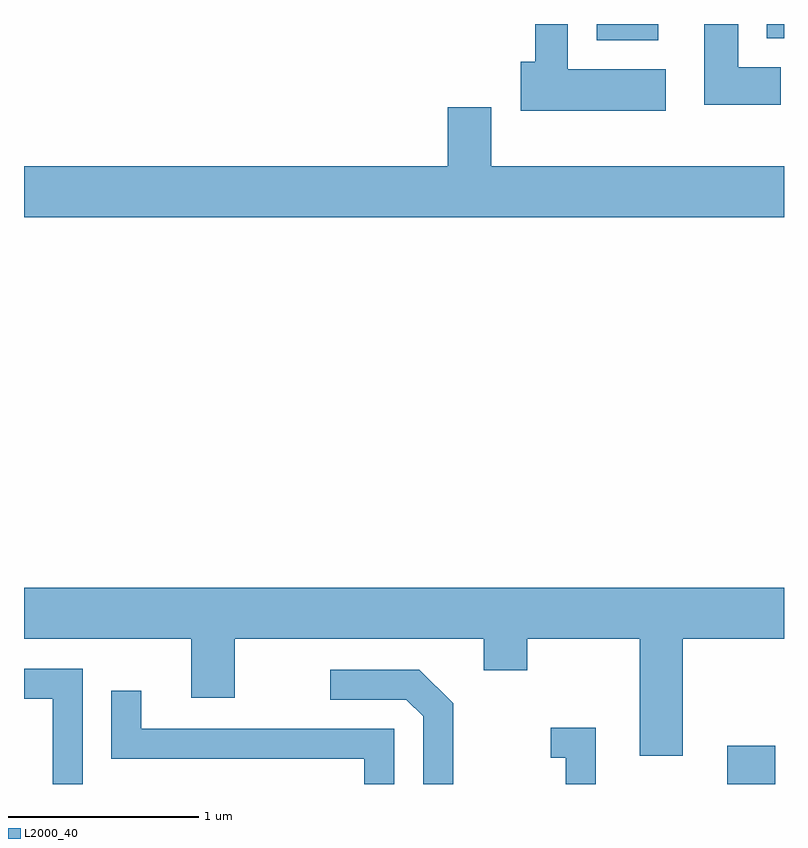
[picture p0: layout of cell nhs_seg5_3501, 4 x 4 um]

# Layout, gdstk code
import gdstk
lib = gdstk.Library(unit=1e-6, precision=1e-09)
def R(c, l, rs):  # rectangles x0, y0, x1, y1
    for r in rs: c.add(gdstk.rectangle(r[:2], r[2:], *l))
def P(c, l, *ps):  # polygons
    for p in ps: c.add(gdstk.Polygon(p, *l))
L2000_40 = (2000, 40)

nhs_seg5_3501 = lib.new_cell('nhs_seg5_3501')
R(nhs_seg5_3501, L2000_40, [(293.311,1416.072,293.564,1416.274), (292.626,1419.986,292.949,1420.072), (293.521,1419.996,293.611,1420.072)])
P(nhs_seg5_3501, L2000_40, [(292.989,1419.834),(292.474,1419.834),(292.474,1420.072),(292.301,1420.072),(292.301,1419.874),(292.226,1419.874),(292.226,1419.616),(292.989,1419.616)],
  [(293.594,1419.844),(293.369,1419.844),(293.369,1420.072),(293.191,1420.072),(293.191,1419.646),(293.594,1419.646)],
  [(293.611,1419.324),(292.069,1419.324),(292.069,1419.634),(291.841,1419.634),(291.841,1419.324),(289.611,1419.324),(289.611,1419.056),(293.611,1419.056)],
  [(293.079,1416.836),(293.611,1416.836),(293.611,1417.104),(289.611,1417.104),(289.611,1416.836),(290.491,1416.836),(290.491,1416.526),(290.719,1416.526),(290.719,1416.836),(292.031,1416.836),(292.031,1416.671),(292.259,1416.671),(292.259,1416.836),(292.851,1416.836),(292.851,1416.221),(293.079,1416.221)],
  [(289.919,1416.679),(289.611,1416.679),(289.611,1416.521),(289.761,1416.521),(289.761,1416.072),(289.919,1416.072)],
  [(291.869,1416.497),(291.692,1416.674),(291.223,1416.674),(291.223,1416.516),(291.624,1416.516),(291.711,1416.429),(291.711,1416.072),(291.869,1416.072)],
  [(291.559,1416.364),(290.229,1416.364),(290.229,1416.563),(290.071,1416.563),(290.071,1416.206),(291.401,1416.206),(291.401,1416.072),(291.559,1416.072)],
  [(292.619,1416.369),(292.383,1416.369),(292.383,1416.211),(292.461,1416.211),(292.461,1416.072),(292.619,1416.072)])

lib.write_gds('nhs_seg5_3501.gds')
